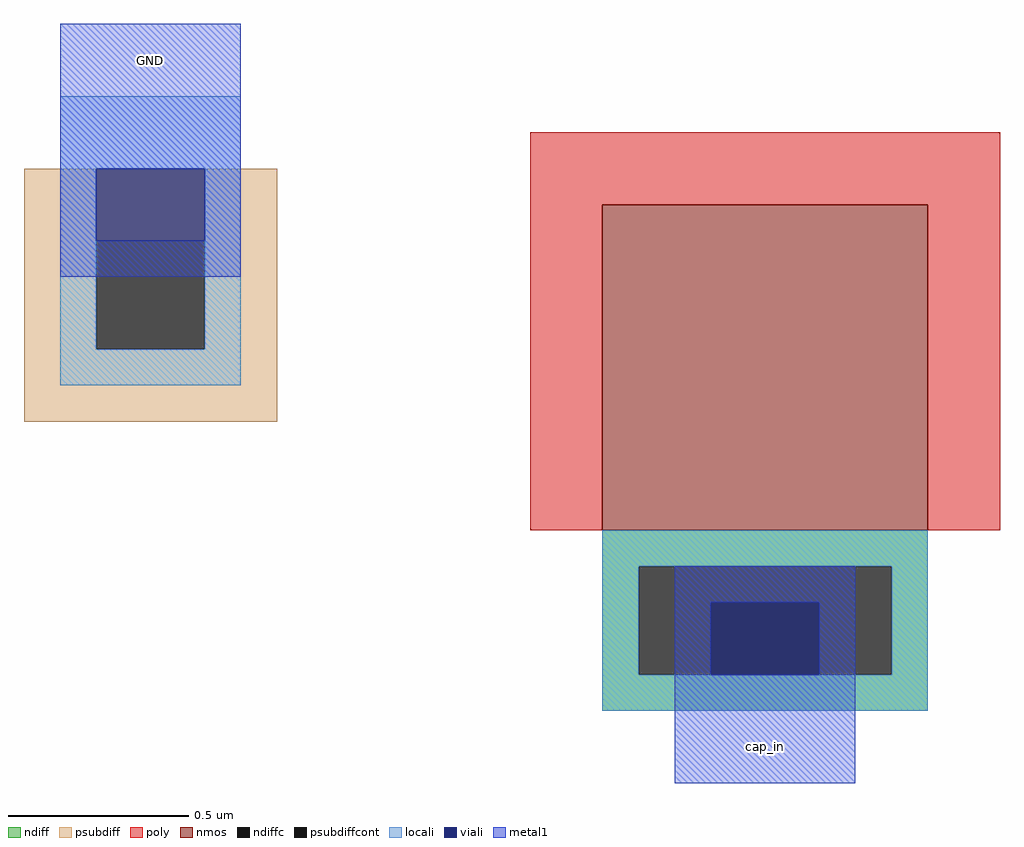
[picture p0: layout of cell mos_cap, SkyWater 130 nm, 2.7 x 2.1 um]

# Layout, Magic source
magic
tech sky130A
<< nmos >>
rect 0 0 90 90
<< ndiff >>
rect 0 -10 90 0
rect 0 -40 10 -10
rect 80 -40 90 -10
rect 0 -50 90 -40
<< ndiffc >>
rect 10 -40 80 -10
<< psubdiff >>
rect -160 80 -90 100
rect -160 50 -140 80
rect -110 50 -90 80
rect -160 30 -90 50
<< psubdiffcont >>
rect -140 50 -110 80
<< poly >>
rect -20 90 110 110
rect -20 0 0 90
rect 90 0 110 90
<< locali >>
rect -150 100 -100 120
rect -150 50 -140 100
rect -110 50 -100 100
rect -150 40 -100 50
rect 0 -10 90 0
rect 0 -40 10 -10
rect 80 -40 90 -10
rect 0 -50 90 -40
<< viali >>
rect -140 80 -110 100
rect 30 -40 60 -20
<< metal1 >>
rect -150 100 -100 140
rect -150 80 -140 100
rect -110 80 -100 100
rect -150 70 -100 80
rect 20 -20 70 -10
rect 20 -40 30 -20
rect 60 -40 70 -20
rect 20 -70 70 -40
<< labels >>
rlabel metal1 20 -70 70 -50 1 cap_in
port 1 n
rlabel metal1 -150 120 -100 140 1 GND
port 2 n
<< end >>
